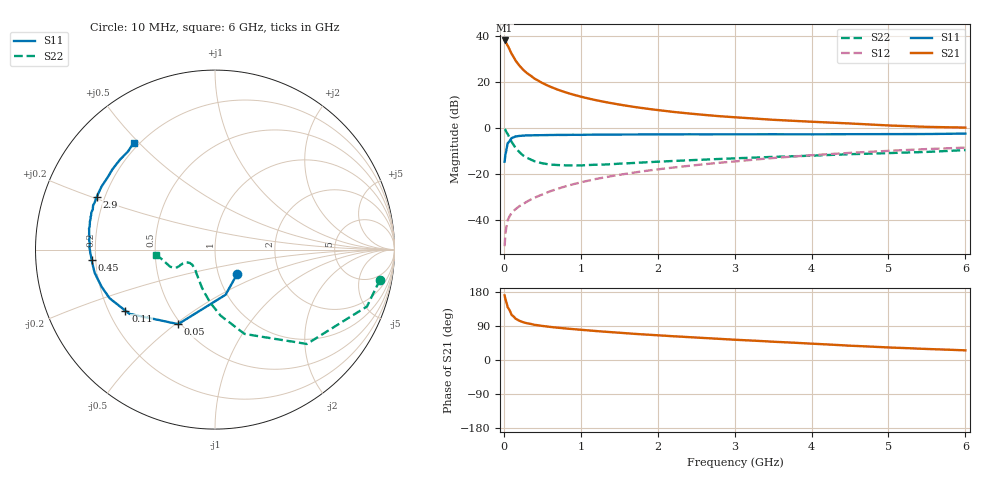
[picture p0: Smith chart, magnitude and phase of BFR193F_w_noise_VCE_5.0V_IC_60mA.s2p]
! (c) 2017  Infineon Technologies AG, Munich
! Infineon Technologies  Discrete & RF Semiconductors
! BFR193F
! VCE =  5.0 V,  IC =  60 mA
! Common Emitter S-Parameters:  Jan 2017
# GHz  S  MA  R  50
!  f  S11  S21  S12  S22
! GHz  MAG  ANG  MAG  ANG  MAG  ANG  MAG  ANG
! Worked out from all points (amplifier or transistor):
!   77 points, 10 MHz to 6 GHz, reference 50 ohm
!   highest |S21| = 37.9 dB at 10 MHz (marker M1)
!   |S21| within 3 dB of that: start of sweep to 61.75 MHz
!   unconditionally stable (mu >= 1): 762.8 MHz to 2.391 GHz
!   at 130 MHz: K = 0.53, MSG = 33.2 dB, |S12| = -36.0 dB
!   at 2.2 GHz: K = 1.01, MAG = 11.3 dB, |S12| = -17.3 dB
!   at 6 GHz: K = 0.87, MSG = 4.3 dB, |S12| = -8.6 dB
!   lowest NFmin = 1.64 dB at 450 MHz
!   S11 on the Smith chart (normalised r, x): 10 MHz: 1.23, -0.34; 50 MHz: 0.48, -0.51; 110 MHz: 0.27, -0.29; 450 MHz: 0.18, -0.04; 2.9 GHz: 0.17, +0.21; 6 GHz: 0.18, +0.48
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0.01  0.1835 -47.6  78.29 170.4  0.0027 88.4  0.9346 -10.3
0.02  0.2584 -76.8  74.89 160.9  0.0049 75.4  0.9042 -20.5
0.05  0.4631 -116.3  60.69 139.1  0.0099 62.9  0.7337 -45.8
0.1  0.5961 -143.1  40.38 119.1  0.0142 54.8  0.4975 -70.7
0.11  0.6039 -145.7  38.06 117.6  0.0148 54.7  0.4698 -73.0
0.15  0.6466 -155.2  29.09 109.5  0.017 54.3  0.3689 -85.2
0.2  0.6644 -161.7  22.47 103.7  0.0198 56.1  0.2989 -94.8
0.25  0.6752 -166.4  18.2 99.8  0.0221 58.3  0.2506 -102.9
0.3  0.6831 -169.3  15.33 97.0  0.025 61.4  0.2234 -109.1
0.4  0.688 -173.8  11.61 92.8  0.0304 64.4  0.1872 -119.3
0.45  0.6893 -175.2  10.47 91.5  0.033 66.2  0.1779 -123.1
0.6  0.6954 -178.8  7.818 87.4  0.0418 69.4  0.1592 -133.2
0.7  0.6996 178.8  6.715 85.2  0.0474 71.5  0.1554 -137.8
0.9  0.7035 175.6  5.246 81.5  0.0595 73.2  0.1523 -145.1
1.1  0.7067 173.0  4.308 78.1  0.0713 73.7  0.1556 -149.2
1.5  0.712 168.4  3.189 72.0  0.0951 74.5  0.1665 -154.2
2.1  0.7181 162.6  2.315 64.0  0.131 73.8  0.1869 -156.6
2.9  0.7213 155.8  1.736 54.7  0.1797 72.1  0.2137 -155.7
3.1  0.7215 154.2  1.648 52.5  0.1926 71.6  0.2203 -155.2
4.1  0.7214 145.5  1.328 42.1  0.2597 67.3  0.2518 -156.6
5.1  0.7287 135.7  1.106 32.3  0.3213 61.4  0.2854 -165.5
6  0.7479 127.3  1.009 25.5  0.3707 56.0  0.3276 -174.8
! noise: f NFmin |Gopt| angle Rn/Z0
0.45  1.64  0.49  -178  0.08
0.9  1.73  0.5  -177  0.09
1.9  2.33  0.61  -162  0.1
2.4  2.66  0.62  -155  0.17
